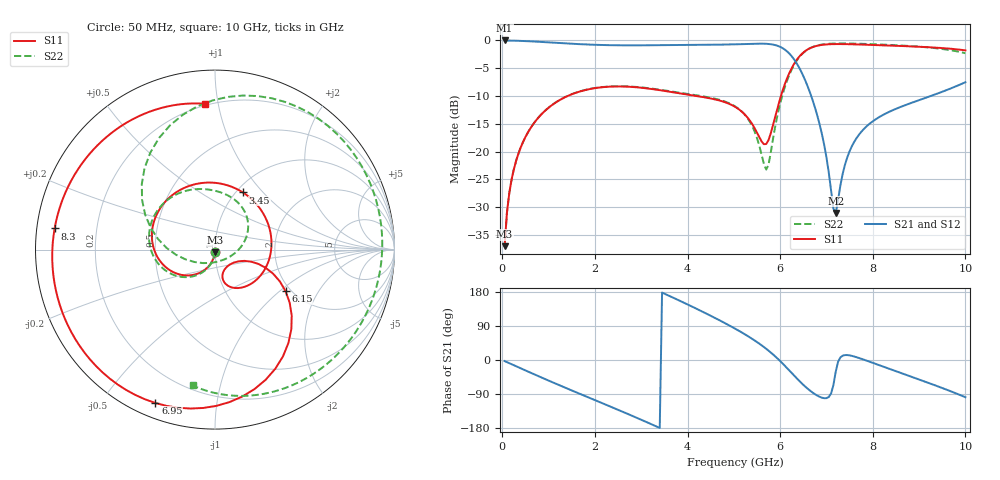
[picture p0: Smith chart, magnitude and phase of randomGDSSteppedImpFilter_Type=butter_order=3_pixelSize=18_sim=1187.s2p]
! freq	dB(S11)	phase(S11)	dB(S12)	phase(S12)
!  dB(S21)	phase(S21)	dB(S22)	phase(S22)
!S-par simulation data
#  GHz  S  DB  R 50
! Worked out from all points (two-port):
!   200 points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, 50 MHz to 10 GHz, reference 50 ohm
!   highest |S21| = -0.01 dB at 50 MHz (marker M1); lowest = -31.0 dB at 7.2 GHz (marker M2)
!   |S21| within 3 dB of the highest: start of sweep to 6.264 GHz
!   lowest |S11| = -37.0 dB at 50 MHz (marker M3), VSWR 1.03, Z = 49.9 - j1.41 ohm
!   |S11| at or under -10 dB: start of sweep to 1.409 GHz; 4.196 GHz to 6.016 GHz (1.821 GHz wide, 35.7 % of centre)
!   |S22| runs from -37.0 to -0.5 dB; largest |S21 - S12| = 0
!   S11 on the Smith chart (normalised r, x): 50 MHz: 1.00, -0.03; 3.45 GHz: 1.07, +0.78; 6.15 GHz: 1.88, -1.10; 6.95 GHz: 0.06, -0.68; 8.3 GHz: 0.05, +0.07; 10 GHz: 0.19, +0.92
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0.05  -36.99 -92.6  -0.01 -2.8  -0.01 -2.8  -37.00 -92.5
0.2  -25.05 -101.6  -0.03 -11.1  -0.03 -11.1  -25.04 -100.9
0.5  -17.37 -119.0  -0.12 -27.5  -0.12 -27.5  -17.36 -117.1
1.15  -11.18 -155.4  -0.42 -62.2  -0.42 -62.2  -11.16 -150.3
1.75  -9.01 171.4  -0.70 -93.1  -0.70 -93.1  -8.99 -179.0
2.5  -8.27 127.9  -0.88 -131.4  -0.88 -131.4  -8.23 148.1
3.4  -8.95 67.7  -0.85 -179.3  -0.85 -179.3  -8.86 112.9
3.45  -9.01 64.0  -0.85 177.9  -0.85 177.9  -8.92 111.1
4.2  -10.01 5.1  -0.79 134.9  -0.79 134.9  -9.88 84.7
5.05  -12.06 -59.2  -0.70 81.2  -0.70 81.2  -11.98 44.7
5.4  -15.09 -75.1  -0.60 55.5  -0.60 55.5  -15.47 14.8
5.7  -18.63 -45.3  -0.60 29.5  -0.60 29.5  -23.23 -73.3
6.15  -6.80 -30.6  -1.98 -21.5  -1.98 -21.5  -7.22 153.4
6.4  -3.03 -57.5  -4.74 -53.6  -4.74 -53.6  -3.15 116.6
6.7  -1.20 -89.5  -10.72 -85.9  -10.72 -85.9  -1.18 79.7
6.95  -0.75 -111.2  -18.75 -100.8  -18.75 -100.8  -0.68 55.8
7.2  -0.65 -129.1  -31.02 -30.9  -31.02 -30.9  -0.54 36.4
7.55  -0.69 -150.1  -19.01 10.9  -19.01 10.9  -0.56 14.2
8.3  -0.90 172.5  -13.06 -20.8  -13.06 -20.8  -0.78 -23.9
8.35  -0.92 170.2  -12.86 -23.0  -12.86 -23.0  -0.80 -26.2
9.2  -1.22 131.6  -10.15 -60.3  -10.15 -60.3  -1.26 -63.0
10  -1.79 93.9  -7.52 -98.3  -7.52 -98.3  -2.30 -99.3
